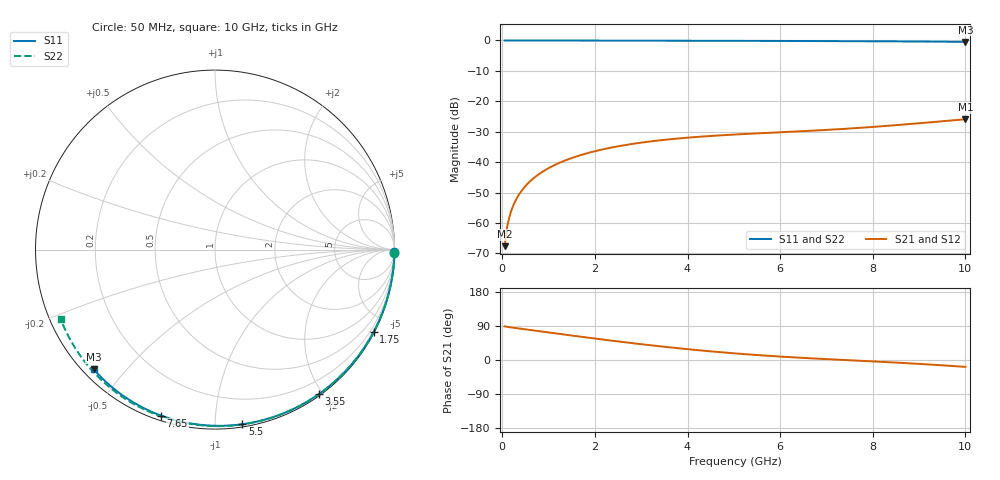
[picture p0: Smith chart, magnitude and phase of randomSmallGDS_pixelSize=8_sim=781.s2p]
! freq	dB(S11)	phase(S11)	dB(S12)	phase(S12)
!  dB(S21)	phase(S21)	dB(S22)	phase(S22)
!S-par simulation data
#  GHz  S  DB  R 50
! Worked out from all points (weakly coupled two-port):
!   200 points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, 50 MHz to 10 GHz, reference 50 ohm
!   highest |S21| = -25.89 dB at 10 GHz (marker M1); lowest = -67.6 dB at 50 MHz (marker M2)
!   lowest |S11| = -0.5 dB at 10 GHz (marker M3), VSWR 38.34, Z = 1.52 - j20.5 ohm
!   |S11| at or under -10 dB: nowhere
!   |S22| runs from -0.5 to 0.0 dB; largest |S21 - S12| = 0
!   S11 on the Smith chart (normalised r, x): 50 MHz: open; 1.75 GHz: 0.04, -4.10; 3.55 GHz: 0.02, -1.95; 5.5 GHz: 0.02, -1.17; 7.65 GHz: 0.02, -0.73; 10 GHz: 0.03, -0.41
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0.05  -0.00 -0.8  -67.61 88.8  -67.61 88.8  -0.00 -0.9
0.1  -0.00 -1.6  -61.62 87.7  -61.62 87.7  -0.00 -1.9
0.15  -0.00 -2.4  -58.14 86.7  -58.14 86.7  -0.00 -2.8
0.2  -0.00 -3.2  -55.68 85.8  -55.68 85.8  -0.00 -3.7
0.25  -0.00 -4.0  -53.77 84.9  -53.77 84.9  -0.00 -4.6
0.35  -0.00 -5.6  -50.89 83.3  -50.89 83.3  -0.00 -6.5
0.5  -0.01 -8.0  -47.84 80.9  -47.84 80.9  -0.01 -9.2
0.7  -0.01 -11.1  -44.97 77.7  -44.97 77.7  -0.01 -12.9
1  -0.02 -15.8  -41.96 72.7  -41.96 72.7  -0.02 -18.3
1.35  -0.03 -21.3  -39.49 67.0  -39.49 67.0  -0.03 -24.7
1.75  -0.04 -27.4  -37.42 60.6  -37.42 60.6  -0.04 -31.8
2.5  -0.05 -38.8  -34.79 49.0  -34.79 49.0  -0.06 -44.9
3.4  -0.07 -52.1  -32.82 36.2  -32.82 36.2  -0.08 -60.1
3.55  -0.07 -54.2  -32.58 34.2  -32.58 34.2  -0.08 -62.6
4.3  -0.09 -64.8  -31.60 25.1  -31.60 25.1  -0.11 -74.7
5.05  -0.12 -75.1  -30.89 17.2  -30.89 17.2  -0.13 -86.3
5.5  -0.13 -81.1  -30.54 13.1  -30.54 13.1  -0.15 -93.1
6.7  -0.19 -96.4  -29.65 4.2  -29.65 4.2  -0.21 -110.5
7.65  -0.24 -108.0  -28.79 -1.5  -28.79 -1.5  -0.28 -123.7
8.35  -0.30 -116.3  -28.02 -5.8  -28.02 -5.8  -0.34 -133.3
9.2  -0.37 -126.1  -26.95 -11.7  -26.95 -11.7  -0.42 -144.9
10  -0.45 -135.3  -25.89 -18.1  -25.89 -18.1  -0.51 -155.9
